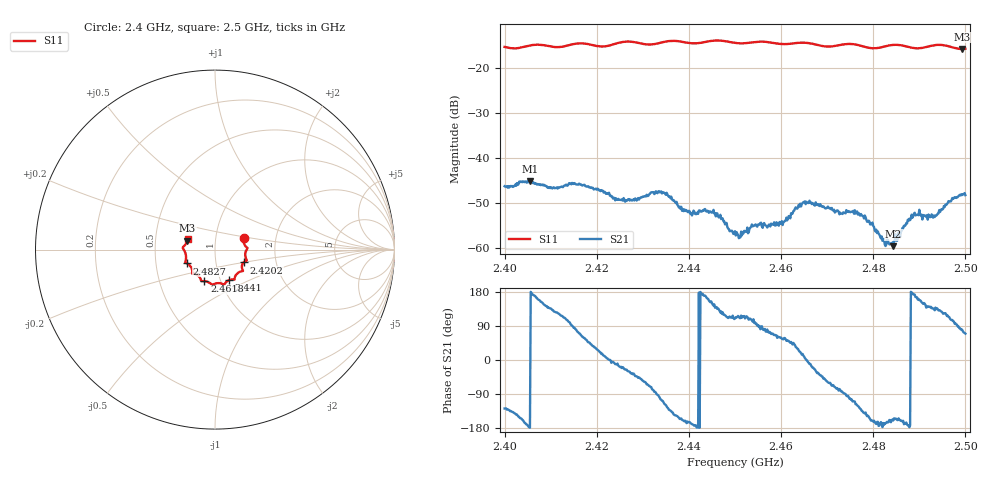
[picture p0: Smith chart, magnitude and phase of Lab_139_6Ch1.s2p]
# Hz S RI R 50
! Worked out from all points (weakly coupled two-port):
!   601 points, 2.4 GHz to 2.5 GHz, reference 50 ohm
!   highest |S21| = -45.16 dB at 2.4055 GHz (marker M1); lowest = -59.7 dB at 2.4843 GHz (marker M2)
!   lowest |S11| = -15.8 dB at 2.4993 GHz (marker M3), VSWR 1.39, Z = 36.5 + j3.8 ohm
!   |S11| at or under -10 dB: start of sweep to end of sweep
!   S12 and S22 are empty: the file has one direction only
!   S11 on the Smith chart (normalised r, x): 2.4 GHz: 1.36, +0.18; 2.4202 GHz: 1.36, -0.20; 2.441 GHz: 1.10, -0.39; 2.4618 GHz: 0.84, -0.31; 2.4827 GHz: 0.72, -0.12; 2.5 GHz: 0.73, +0.09
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2.4e9  0.1589 0.063  -0.00297 -0.0038  0 0  0 0
2.4055e9  0.177 0.0121  -0.00552 -0.000139  0 0  0 0
2.4105e9  0.1711 -0.0112  -0.00307 0.00346  0 0  0 0
2.416667e9  0.1774 -0.0607  0.00218 0.00452  0 0  0 0
2.420167e9  0.1591 -0.0716  0.00404 0.00205  0 0  0 0
2.426167e9  0.1561 -0.1181  0.00294 -0.00136  0 0  0 0
2.433333e9  0.1117 -0.1506  -0.000251 -0.0042  0 0  0 0
2.441e9  0.0789 -0.1699  -0.00255 -0.000382  0 0  0 0
2.445667e9  0.0507 -0.1948  -0.00179 0.00161  0 0  0 0
2.45e9  0.0286 -0.1874  -0.000514 0.00143  0 0  0 0
2.459833e9  -0.0393 -0.1804  0.000944 0.00158  0 0  0 0
2.461833e9  -0.0587 -0.1758  0.00149 0.00166  0 0  0 0
2.464667e9  -0.0757 -0.1748  0.00301 0.000858  0 0  0 0
2.466667e9  -0.0791 -0.1685  0.00291 -0.000922  0 0  0 0
2.4765e9  -0.1272 -0.128  -0.00124 -0.0022  0 0  0 0
2.482667e9  -0.1559 -0.0772  -0.00102 -0.000229  0 0  0 0
2.483333e9  -0.1603 -0.0751  -0.00108 -0.000318  0 0  0 0
2.484333e9  -0.1645 -0.0731  -0.000973 -0.000363  0 0  0 0
2.488833e9  -0.1612 -0.0397  -0.00237 0.000276  0 0  0 0
2.493333e9  -0.1787 0.00642  -0.00144 0.00165  0 0  0 0
2.499333e9  -0.1538 0.0507  0.000749 0.00378  0 0  0 0
2.5e9  -0.152 0.0601  0.00134 0.00359  0 0  0 0
